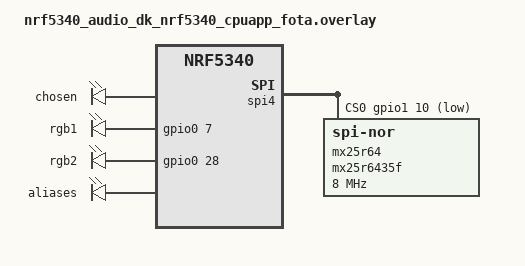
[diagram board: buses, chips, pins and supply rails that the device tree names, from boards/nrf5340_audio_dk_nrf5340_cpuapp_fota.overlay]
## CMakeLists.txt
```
#
# Copyright (c) 2022 Nordic Semiconductor ASA
#
# SPDX-License-Identifier: LicenseRef-Nordic-5-Clause
#

cmake_minimum_required(VERSION 3.20.0)

file(TO_CMAKE_PATH $ENV{ZEPHYR_BASE} CMAKE_STYLE_ZEPHYR)

if (CONFIG_AUDIO_DFU EQUAL 1)
    list(APPEND mcuboot_OVERLAY_CONFIG
        "${CMAKE_CURRENT_LIST_DIR}/dfu/conf/overlay-mcuboot.conf"
        "${CMAKE_STYLE_ZEPHYR}/../nrf/subsys/partition_manager/partition_manager_enabled.conf"
    )
endif()

if (CONFIG_AUDIO_DFU EQUAL 2)
    list(APPEND mcuboot_OVERLAY_CONFIG
        "${CMAKE_CURRENT_LIST_DIR}/dfu/conf/overlay-mcuboot_external_flash.conf"
        "${CMAKE_STYLE_ZEPHYR}/../nrf/subsys/partition_manager/partition_manager_enabled.conf"
    )
    list(APPEND mcuboot_DTC_OVERLAY_FILE
        "${CMAKE_CURRENT_LIST_DIR}/dfu/conf/overlay-dfu_external_flash.overlay"
        "${CMAKE_STYLE_ZEPHYR}/../nrf/modules/mcuboot/flash_sim.overlay"
    )
    set(DTC_OVERLAY_FILE ${CMAKE_CURRENT_LIST_DIR}/dfu/conf/overlay-dfu_external_flash.overlay)
    set(mcuboot_PM_STATIC_YML_FILE ${CMAKE_CURRENT_LIST_DIR}/dfu/conf/pm_dfu_external_flash.yml)
    set(PM_STATIC_YML_FILE ${CMAKE_CURRENT_LIST_DIR}/dfu/conf/pm_dfu_external_flash.yml)
endif()

if ((CONFIG_AUDIO_DFU EQUAL 1) OR (CONFIG_AUDIO_DFU EQUAL 2))
    list(APPEND empty_net_core_OVERLAY_CONFIG
        "${CMAKE_CURRENT_LIST_DIR}/dfu/conf/overlay-empty_net_core.conf"
    )
    if (CONFIG_B0N_MINIMAL)
        set(min_b0n_flag "-m")
        list(APPEND empty_net_core_b0n_OVERLAY_CONFIG overlay-minimal-size.conf)
    endif()
endif()

# Flag which defines whether application is compiled as gateway/dongle or headset
add_compile_definitions(HEADSET=1)
add_compile_definitions(GATEWAY=2)

find_package(Zephyr REQUIRED HINTS $ENV{ZEPHYR_BASE})

project(NRF5340_AUDIO)

string(TIMESTAMP NRF5340_AUDIO_CORE_APP_COMP_DATE "%a %b %d %H:%M:%S %Y")

# Generate fw_info_app.c
configure_file("${CMAKE_CURRENT_SOURCE_DIR}/src/utils/fw_info_app.c.in"
               "${CMAKE_BINARY_DIR}/fw_info_app.c"
               @ONLY)

# Target sources below are specific to the nRF5340 Audio DK HW
target_sources(app PRIVATE
    src/main.c
    ${CMAKE_BINARY_DIR}/fw_info_app.c
    )

# Include application events and configuration headers
zephyr_library_include_directories(
    include
    src/audio
    src/audio_modules/generic_module
    src/audio_modules/lc3_decoder
    src/bluetooth
    src/drivers
    src/modules
    src/utils
    src/utils/macros
)

zephyr_library_include_directories(app PRIVATE
    ${ZEPHYR_NRF_MODULE_DIR}/boards/arm/nrf5340_audio_dk_nrf5340)

# Application sources
add_subdirectory(src/audio)
add_subdirectory(src/audio_modules/generic_module)
add_subdirectory(src/audio_modules/lc3_decoder)
add_subdirectory(src/bluetooth)
add_subdirectory(src/drivers)
add_subdirectory(src/modules)
add_subdirectory(src/utils)

## Cirrus Logic
if (CONFIG_HW_CODEC_CIRRUS_LOGIC)
    if (ZEPHYR_CIRRUS_LOGIC_MODULE_DIR)
        add_subdirectory(${ZEPHYR_CIRRUS_LOGIC_MODULE_DIR} cirrus_logic_bin_dir)
    else()
        message(FATAL_ERROR "Cirrus Logic/sdk-mcu-drivers repository not found\n")
    endif()
endif()

if ((CONFIG_AUDIO_DFU EQUAL 1) OR (CONFIG_AUDIO_DFU EQUAL 2))
    set(BLE5_CTR_SIGN_STEP ${APPLICATION_BINARY_DIR}/dummy)
    file(TO_CMAKE_PATH ${ZEPHYR_NRF_MODULE_DIR}/lib/bin/bt_ll_acs_nrf53/bin CMAKE_STYLE_LL_ACS_NRF53_BIN)

    add_custom_command(
        COMMAND ${PYTHON_EXECUTABLE} ${CMAKE_CURRENT_LIST_DIR}/tools/buildprog/ble5-ctr-rpmsg_sign.py
        -I ${CMAKE_STYLE_LL_ACS_NRF53_BIN} -b ${APPLICATION_BINARY_DIR} ${min_b0n_flag}
        OUTPUT ${BLE5_CTR_SIGN_STEP}
        DEPENDS merged_domains_hex
        COMMENT "Running post-build ble5-ctr signing step..."
    )

    add_custom_target(
        post_bin ALL
        DEPENDS
        ${BLE5_CTR_SIGN_STEP}
    )
endif()
```

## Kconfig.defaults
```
#
# Copyright (c) 2022 Nordic Semiconductor ASA
#
# SPDX-License-Identifier: LicenseRef-Nordic-5-Clause
#

config REBOOT
	default y

config MAIN_THREAD_PRIORITY
	default 10

config MAIN_STACK_SIZE
	default 1800 if SD_CARD_PLAYBACK
	default 1600

config SYSTEM_WORKQUEUE_STACK_SIZE
	default 1200

# As long as thread names are used, config must be set to "y"
config THREAD_NAME
	default y

config NCS_INCLUDE_RPMSG_CHILD_IMAGE
	default y

# Workaround to not use fatal_error.c in NCS. Note that the system may still
# reset on error depending on the build configuraion
config RESET_ON_FATAL_ERROR
	default n

# Default Config for Debug and Release build
config BT
	default y

config ZBUS
	default y

config ZBUS_RUNTIME_OBSERVERS
	default y

config ZBUS_MSG_SUBSCRIBER
	default y

config LED_CONTROLLER
	default y

config SENSOR
	default y

config REGULATOR
	default y

config CONTIN_ARRAY
	default y

config NRFX_I2S0
	default y

config PCM_MIX
	default y

config PSCM
	default y

config DATA_FIFO
	default y

# Enable NRFX_CLOCK for ACLK control
config NRFX_CLOCK
	default y

config I2C
	default y

choice LIBC_IMPLEMENTATION
	# NOTE: Since we are not using minimal libc, error codes from
	#       minimal libc are not used
	default NEWLIB_LIBC
endchoice

# Audio codec LC3 related defines
# FPU_SHARING enables preservation of the hardware floating point registers
# across context switches to allow multiple threads to perform concurrent
# floating point operations.
config FPU
	default y

config FPU_SHARING
	default y

# Enable SDHC interface
config DISK_DRIVERS
	default y

config DISK_DRIVER_SDMMC
	default y

# Enable SPI interface
config SPI
	default y

# Enable ADC for board version readback
config ADC
	default y

# Allocate buffer on RAM for transferring chunck of data
# from Flash to SPI
config SPI_NRFX_RAM_BUFFER_SIZE
	default 8

# Config the file system
config FILE_SYSTEM
	default y

config FAT_FILESYSTEM_ELM
	default y

config FS_FATFS_LFN
	default y
choice FS_FATFS_LFN_MODE
	# Using stack for LFN work queue
	default FS_FATFS_LFN_MODE_STACK
endchoice

# exFAT enabled to support longer file names and higher transfer speed
config FS_FATFS_EXFAT
	default y

config WATCHDOG
	default y

config TASK_WDT
	default y
```

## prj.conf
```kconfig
#
# Copyright (c) 2022 Nordic Semiconductor ASA
#
# SPDX-License-Identifier: LicenseRef-Nordic-5-Clause
#

# nRF5340 Audio
CONFIG_NRF5340_AUDIO=y
CONFIG_AUDIO_MODULE=y
CONFIG_SAMPLE_RATE_CONVERTER=y
CONFIG_SAMPLE_RATE_CONVERTER_FILTER_SIMPLE=y

# General
CONFIG_DEBUG=y
CONFIG_DEBUG_INFO=y
CONFIG_ASSERT=y
CONFIG_STACK_USAGE=y
CONFIG_THREAD_RUNTIME_STATS=y
CONFIG_STACK_SENTINEL=y
CONFIG_INIT_STACKS=y
CONFIG_BT=y

# Uart driver
CONFIG_SERIAL=y

# Logging
CONFIG_LOG=y
CONFIG_NEWLIB_LIBC_FLOAT_PRINTF=y
CONFIG_LOG_TAG_MAX_LEN=2
CONFIG_LOG_TAG_DEFAULT="--"
CONFIG_LOG_BACKEND_UART=y
CONFIG_LOG_BUFFER_SIZE=4096

# Use this for debugging thread usage
#CONFIG_LOG_THREAD_ID_PREFIX=y

# Console related defines
CONFIG_CONSOLE=y
CONFIG_RTT_CONSOLE=y
CONFIG_UART_CONSOLE=y

# Shell related defines
CONFIG_SHELL=y
CONFIG_KERNEL_SHELL=y
CONFIG_USE_SEGGER_RTT=y
## Disable logs on RTT
CONFIG_SHELL_RTT_INIT_LOG_LEVEL_NONE=y
CONFIG_SHELL_BACKEND_RTT=y
CONFIG_SHELL_BACKEND_SERIAL=n
CONFIG_SHELL_VT100_COMMANDS=y
CONFIG_SHELL_VT100_COLORS=y
CONFIG_SHELL_STACK_SIZE=4096
CONFIG_SHELL_CMD_BUFF_SIZE=128
## Reduce shell memory usage
CONFIG_SHELL_WILDCARD=n
CONFIG_SHELL_HELP_ON_WRONG_ARGUMENT_COUNT=n
CONFIG_SHELL_STATS=n
CONFIG_SHELL_CMDS=n
CONFIG_SHELL_HISTORY=y

# Turn off default shell commands
CONFIG_I2C_SHELL=n
CONFIG_HWINFO_SHELL=n
CONFIG_CLOCK_CONTROL_NRF_SHELL=n
CONFIG_FLASH_SHELL=n
CONFIG_DEVICE_SHELL=n

# Suppress LOG_ERR messages from sd_check_card_type. Because SPI_SDHC has no card presence method,
# assume card is in slot. Thus error message is always shown if card is not inserted
CONFIG_SD_LOG_LEVEL_OFF=y

# Suppress LOG_INF messages from hci_core
CONFIG_BT_HCI_CORE_LOG_LEVEL_WRN=y
```

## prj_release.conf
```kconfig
#
# Copyright (c) 2022 Nordic Semiconductor ASA
#
# SPDX-License-Identifier: LicenseRef-Nordic-5-Clause
#

# nRF5340 Audio
CONFIG_NRF5340_AUDIO=y
CONFIG_AUDIO_MODULE=y
CONFIG_SAMPLE_RATE_CONVERTER=y
CONFIG_SAMPLE_RATE_CONVERTER_FILTER_SIMPLE=y

# General
CONFIG_DEBUG=n
CONFIG_ASSERT=n
CONFIG_STACK_USAGE=n
CONFIG_THREAD_MONITOR=n
CONFIG_SERIAL=n
CONFIG_CONSOLE=n
CONFIG_PRINTK=n
CONFIG_UART_CONSOLE=n
CONFIG_BOOT_BANNER=n

# Bluetooth
# Default value from src/bluetooth/Kconfig.defaults.
# BT_PRIVACY is default turned off to ease the development.
# Should be turned on before production.
# CONFIG_BT_PRIVACY=y

# USB
# Default values from src/modules/Kconfig.defaults.
# USB VID and PID must be changed before production.
# CONFIG_USB_DEVICE_VID=0x1915
# CONFIG_USB_DEVICE_PID=0x530A
```

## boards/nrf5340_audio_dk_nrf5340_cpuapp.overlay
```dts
/*
 * Copyright (c) 2024 Nordic Semiconductor ASA
 *
 * SPDX-License-Identifier: LicenseRef-Nordic-5-Clause
 */

#include <zephyr/dt-bindings/led/led.h>

&leds {
	compatible = "gpio-leds";
	status = "okay";
	rgb1: rgb_1 {
		gpios = <&gpio0 7 GPIO_ACTIVE_HIGH>,
				<&gpio0 25 GPIO_ACTIVE_HIGH>,
				<&gpio0 26 GPIO_ACTIVE_HIGH>;
		color-mapping = <LED_COLOR_ID_RED>,
						<LED_COLOR_ID_GREEN>,
						<LED_COLOR_ID_BLUE>;
	};
	rgb2: rgb_2 {
		gpios = <&gpio0 28 GPIO_ACTIVE_HIGH>,
				<&gpio0 29 GPIO_ACTIVE_HIGH>,
				<&gpio0 30 GPIO_ACTIVE_HIGH>;
		color-mapping = <LED_COLOR_ID_RED>,
						<LED_COLOR_ID_GREEN>,
						<LED_COLOR_ID_BLUE>;
	};
};

/ {
	aliases {
		rgb1 = &rgb1;
		rgb2 = &rgb2;
		connection-status = &led1_blue;
		core-status = &led3_green;
		audio-status = &led2_green;
		sync-status = &rgb2;
	};
};
```

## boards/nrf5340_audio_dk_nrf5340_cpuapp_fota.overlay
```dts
/*
 * Copyright (c) 2024 Nordic Semiconductor ASA
 *
 * SPDX-License-Identifier: LicenseRef-Nordic-5-Clause
 */

/ {
	chosen {
		nordic,pm-ext-flash = &mx25r64;
	};
};

&leds: leds {
	compatible = "gpio-leds";
	rgb1: rgb_1 {
		gpios = <&gpio0 7 GPIO_ACTIVE_HIGH>,
				<&gpio0 25 GPIO_ACTIVE_HIGH>,
				<&gpio0 26 GPIO_ACTIVE_HIGH>;
		color-mapping = <LED_COLOR_ID_RED>,
						<LED_COLOR_ID_GREEN>,
						<LED_COLOR_ID_BLUE>;
	};
	rgb2: rgb_2 {
		gpios = <&gpio0 28 GPIO_ACTIVE_HIGH>,
				<&gpio0 29 GPIO_ACTIVE_HIGH>,
				<&gpio0 30 GPIO_ACTIVE_HIGH>;
		color-mapping = <LED_COLOR_ID_RED>,
						<LED_COLOR_ID_GREEN>,
						<LED_COLOR_ID_BLUE>;
	};
};

&spi4 {
	cs-gpios = <&gpio1 10 GPIO_ACTIVE_LOW>,
			   <&gpio0 11 GPIO_ACTIVE_LOW>,
			   <&gpio0 17 GPIO_ACTIVE_LOW>;
	status = "okay";
	mx25r64: mx25r6435f@0 {

		compatible = "jedec,spi-nor";
		reg = <0>;
		spi-max-frequency = <8000000>;

		jedec-id = [ c2 28 17  ];
		jedec-id = [ c2 28 17  ];
		sfdp-bfp = [
			e5 20 f1 ff  ff ff ff 03  44 eb 08 6b  08 3b 04 bb
			ee ff ff ff  ff ff 00 ff  ff ff 00 ff  0c 20 0f 52
			10 d8 00 ff  23 72 f5 00  82 ed 04 cc  44 83 68 44
			30 b0 30 b0  f7 c4 d5 5c  00 be 29 ff  f0 d0 ff ff
		];
		size = <67108864>;
		has-dpd;
		t-enter-dpd = <10000>;
		t-exit-dpd = <5000>;
		dpd-wakeup-sequence = <30000 20 45000>;
	};
};

&gpio_fwd {
	uart {
		gpios = <&gpio1 0x9 0x0>, <&gpio1 0x8 0x0>, <&gpio1 0xb 0x0>;
	};
};

/ {
	aliases {
		connection-status = &led7;
		core-status = &led6;
		device-type = &rgb1;
		audio_status = &led8;
		error_status = &rgb1;
	};
};
```

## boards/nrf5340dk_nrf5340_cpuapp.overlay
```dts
/*
 * Copyright (c) 2024 Nordic Semiconductor ASA
 *
 * SPDX-License-Identifier: LicenseRef-Nordic-5-Clause
 */

/ {
	aliases {
		connection-status = &led1;
		core-status = &led3;
		device-type = &led0;
		audio-status = &led2;
	};
};

&usbd {
	hs_0: hs_0 {
		compatible = "usb-audio-hs";
		mic-feature-mute;
		mic-channel-l;
		mic-channel-r;

		hp-feature-mute;
		hp-channel-l;
		hp-channel-r;
	};
};
```

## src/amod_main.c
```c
/*
 * Copyright(c) 2023 Nordic Semiconductor ASA
 *
 * SPDX-License-Identifier: LicenseRef-Nordic-5-Clause
 */

#include <ctype.h>
#include <nrfx_clock.h>
#include <stdio.h>
#include <stdlib.h>
#include <zephyr/kernel.h>
#include <zephyr/shell/shell.h>
#include "aobj_api.h"
#include "data_fifo.h"
#include "module.h"
#include "amod_api.h"

#define MODULE_INSTANCE_NUM (2)
#define MODULE_DATA_SIZE_BYTES (150)

#define MODULE_DATA_SIZE (4096)
#define MODULE_DATA_SIZE AMOD_DATA_BUF_SET_SIZE(MODULE_DATA_SIZE_BYTES, 2)
#define MODULE_MESSAGE_IN_NUM (2)
#define MODULE_MESSAGE_OUT_NUM (2)
#define MODULE_DATA_NUM (4)

#define MODULE_THREAD_STACK_SIZE (4096)
#define MODULE_THREAD_PRIORITY (2)

K_THREAD_STACK_DEFINE(dummy_1_thread_stack, MODULE_THREAD_STACK_SIZE);
K_THREAD_STACK_DEFINE(dummy_2_thread_stack, MODULE_THREAD_STACK_SIZE);

struct dummy_configuration module_inst_1_config = { .rate = 10,
						    .depth = 100000,
						    .some_text = "testing 1 testing 1" };

struct dummy_configuration module_inst_2_config = { .rate = 20,
						    .depth = 200000,
						    .some_text = "testing 2 testing 2" };

/**
 * @brief Dynamic allocation of memory for a module.
 *
 */
static int mem_alloc_dynamic(struct amod_parameters *parameters,
			     struct amod_configuration mod_config, struct amod_handle *handle,
			     char **in_msg_mem, char **out_msg_mem, char **data_mem)
{
	int ret;
	int handle_size, in_msg_size, out_msg_size, data_size;
	struct _amod_parameters *params = (struct _amod_parameters *)parameters;

	handle_size = amod_query_resource(params, mod_config);
	if (handle_size < 0) {
		LOG_ERR("Querry resource FAILED , ret %d", handle_size);
		return -1;
	}

	*handle = k_alloc(handle_size, K_NO_WAIT);

	if (params->thread.in_msg_num > 0) {
		*in_msg_mem = k_calloc(params->thread.in_msg_num, AMOD_IN_MSG_SIZE);
	} else {
		*in_msg_mem = NULL;
	}

	if (params->thread.out_msg_num > 0) {
		*out_msg_mem = k_calloc(params->thread.out_msg_num, AMOD_OUT_MSG_SIZE);
	} else {
		*out_msg_mem = NULL;
	}

	if (params->thread.out_msg_num > 0) {
		*data_mem = k_calloc(params->thread.data_num, params->thread.data_size);
	} else {
		*data_mem = NULL;
	}

	return 0;
}

/**
 * @brief Basic test of a single module
 *
 */
static int basic_test(struct amod_description *dummpy_parameters, char *instance_name,
		      struct dummy_configuration config, char *in_msg, char *out_msg, char *data,
		      struct amod_handle handle)
{
	char *base_name;
	char *inst_name;
	struct dummy_configuration config_retrieved;

	ret = amod_open(dummpy_parameters, instance_name, in_msg, out_msg, data, MODULE_DATA_SIZE,
			MODULE_DATA_NUM, handle);
	if (ret) {
		LOG_ERR("Open FAILED, ret %d", ret);
		return -1;
	}

	ret = amod_names_get(handle, base_name, inst_name);
	if (ret) {
		LOG_ERR("Failed to get names for module, ret %d", ret);
		return -1;
	}

	if (memcmp(base_name, dummpy_parameters->base_name, strlen(dummpy_parameters->base_name))) {
		LOG_ERR("Failed to read the base name correctly (%s) for module %s", base_name,
			hdl->base_name);
		return -1;
	}

	if (memcmp(inst_name, dummpy_parameters->name, strlen(lc3_dec_parameters->name))) {
		LOG_ERR("Failed to read the instance name correctly (%s) for module %s", inst_name,
			hdl->name);
		return -1;
	}

	state = amod_state_get(handle);
	if (state != AMOD_STATE_OPEN) {
		LOG_ERR("Failed to get the correct state for module %s instance %s, ret %d",
			base_name, inst_name, ret);
		return -1;
	}

	ret = amod_configuration_set(handle, config);
	if (ret) {
		LOG_ERR("Set configuration FAILED test, ret %d", ret);
		return -1;
	}

	state = amod_state_get(handle);
	if (state != AMOD_STATE_CONFIGURED) {
		LOG_ERR("Failed to get the correct state for module %s instance %s, state %d",
			base_name, instance_name, state);
		return -1;
	}

	ret = amod_configuration_get(handle, &config_retrieved);
	if (ret != -ENOSYS) {
		LOG_ERR("Get configuration FAILED, ret %d", ret);
		return -1;
	}

	if (memcmp(config, &config_retrieved, sizeof(struct dummy_configuration))) {
		LOG_ERR("Failed to read the configuration back correctly (%s) for module %s",
			inst_name, hdl->name);
		return -1;
	}

	ret = amod_start(handle);
	if (ret) {
		LOG_ERR("Start FAILED test, ret %d", ret);
		return -1;
	}

	state = amod_state_get(handle);
	if (state != AMOD_STATE_RUNNING) {
		LOG_ERR("Failed to get the correct state for module %s instance %s, ret %d",
			base_name, instance_name, ret);
		return -1;
	}

	ret = amod_pause(handle);
	if (ret) {
		LOG_ERR("Send command FAILED test, ret %d", ret);
		return -1;
	}

	state = amod_state_get(handle);
	if (state != AMOD_STATE_PAUSED) {
		LOG_ERR("Failed to get the correct state for module %s instance %s, ret %d",
			base_name, instance_name, ret);
		return -1;
	}

	return 0;
}

/**
 * @brief Function to start a single module to the configured stage.
 *
 */
static int void module_dynamic_test(void)
{
	int ret;
	struct amod_handle handle_1;
	struct amod_handle handle_2;
	struct amod_handle handle_memory;
	struct amod_parameters dummy_1_parameters;
	struct amod_parameters dummy_2_parameters;
	char *in_msg_1, *in_msg_2;
	char *out_msg_1, *out_msg_2;
	char *data_1, *data_2;

	amod_parameters_configure(dummy_1_parameters, dummy_description, dummy_1_thread_stack,
				  MODULE_THREAD_STACK_SIZE, MODULE_THREAD_PRIORITY,
				  MODULE_MESSAGE_IN_NUM, MODULE_MESSAGE_OUT_NUM);
	if (ret) {
		LOG_ERR("Parameter configuration FAILED , ret %d", ret);
		return -1;
	}

	ret = mem_alloc_dynamic(dummy_1_parameters, &module_inst_1_config, &handle_1, &in_msg_1,
				&out_msg_1, &data_1);
	if (ret) {
		LOG_ERR("Failed to allocate memory, ret %d", ret);
		return -1;
	}

	ret = basic_test(dummy_1_parameters, &module_inst_1_config, "Instance 1", in_msg, out_msg,
			 data, handle_1);
	if (ret) {
		LOG_ERR("Failed to basic tests, ret %d", ret);
		return -1;
	}

	amod_parameters_configure(dummy_2_parameters, dummy_description, dummy_2_thread_stack,
				  MODULE_THREAD_STACK_SIZE, MODULE_THREAD_PRIORITY,
				  MODULE_MESSAGE_IN_NUM, MODULE_MESSAGE_OUT_NUM);
	if (ret) {
		LOG_ERR("Parameter configuration FAILED , ret %d", ret);
		return -1;
	}

	ret = mem_alloc_dynamic(dummy_2_parameters, &module_inst_2_config, &handle_2, &in_msg_2,
				&out_msg_2, &data_2);
	if (ret) {
		LOG_ERR("Failed to allocate memory, ret %d", ret);
		return -1;
	}

	ret = basic_test(dummy_2_parameters, &module_inst_2_config, "Instance 2", in_msg, out_msg,
			 data, handle_2);
	if (ret) {
		LOG_ERR("Failed to basic tests, ret %d", ret);
		return -1;
	}

	/* Re-run tests to check they have not interferred with each other */
	ret = basic_test(dummy_1_parameters, &module_inst_1_config, "Instance 1", in_msg, out_msg,
			 data, handle_1);
	if (ret) {
		LOG_ERR("Failed to basic tests, ret %d", ret);
		return -1;
	}

	ret = basic_test(dummy_2_parameters, &module_inst_2_config, "Instance 2", in_msg, out_msg,
			 data, handle_2);
	if (ret) {
		LOG_ERR("Failed to basic tests, ret %d", ret);
		return -1;
	}

	/* Connect the modules together */
	ret = amod_connect(handle_1, handle_2);
	if (ret) {
		LOG_ERR("Failed to connect, ret %d", ret);
		return -1;
	}

	/* Disconnect the modules */
	ret = amod_disconnect(handle_1, handle_2);
	if (ret) {
		LOG_ERR("Failed to disconnect, ret %d", ret);
		return -1;
	}

	handle_1_memory = handle_1;
	handle_2_memory = handle_2;

	ret = amod_close(&handle_1);
	if (ret) {
		LOG_ERR("Close failed for mosule 1, ret %d", ret);
		return -1;
	}

	state = amod_state_get(handle_2);
	if (state != AMOD_STATE_PAUSED) {
		LOG_ERR("Close of module 1 has effected module 2", state);
		return -1;
	}

	ret = amod_close(&handle_2);
	if (ret) {
		LOG_ERR("Close failed for modeule 2, ret %d", ret);
		return -1;
	}

	if (handle_1 != NULL || handle_2 != NULL) {
		LOG_ERR("Close failed to NULL handle");
		return -1;
	}

	k_free(in_msg_1);
	k_free(out_msg_1);
	k_free(data_1);
	k_free(handle_1);
	k_free(in_msg_2);
	k_free(out_msg_2);
	k_free(data_2);
	k_free(handle_2);

	return 0;
}

void main(void)
{
	int ret;

	ret = module_dynamic_test();
	if (ret) {
		LOG_ERR("Failed test");
	}

	LOG_EINF("Passed test");
}
```
